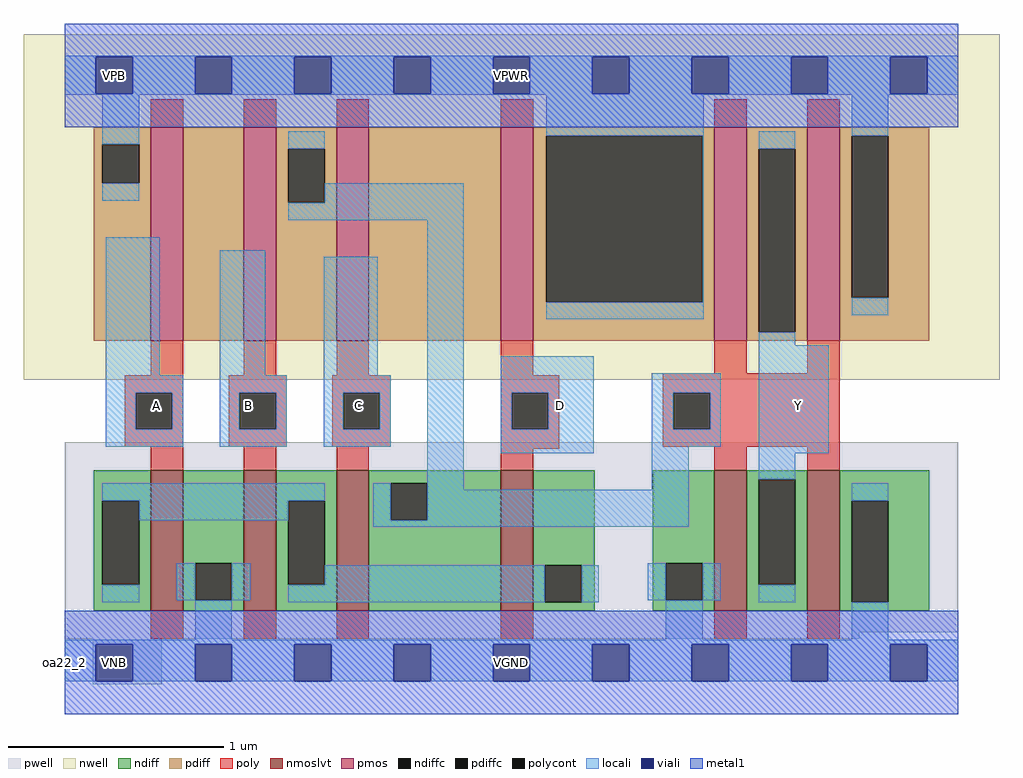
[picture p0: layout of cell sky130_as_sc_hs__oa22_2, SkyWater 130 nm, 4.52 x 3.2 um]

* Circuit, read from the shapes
.subckt sky130_as_sc_hs__oa22_2 VNB VPB VPWR VGND A B C D Y
XM1 VGND A n1 VNB sky130_fd_pr__nfet_01v8_lvt w=0.65 l=0.15
XM2 n1 B VGND VNB sky130_fd_pr__nfet_01v8_lvt w=0.65 l=0.15
XM3 n2 C n1 VNB sky130_fd_pr__nfet_01v8_lvt w=0.65 l=0.15
XM4 n1 D n2 VNB sky130_fd_pr__nfet_01v8_lvt w=0.65 l=0.15
XM5 Y n2 VGND VNB sky130_fd_pr__nfet_01v8_lvt w=0.65 l=0.15 m=2
XM6 n3 A VPWR VPB sky130_fd_pr__pfet_01v8 w=0.99 l=0.15
XM7 n2 B n3 VPB sky130_fd_pr__pfet_01v8 w=0.99 l=0.15
XM8 n4 C n2 VPB sky130_fd_pr__pfet_01v8 w=0.99 l=0.15
XM9 VPWR D n4 VPB sky130_fd_pr__pfet_01v8 w=0.99 l=0.15
XM10 Y n2 VPWR VPB sky130_fd_pr__pfet_01v8 w=0.99 l=0.15 m=2
.ends

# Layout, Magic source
magic
tech sky130A
magscale 1 2
<< nwell >>
rect -38 262 866 582
<< pwell >>
rect 0 28 828 204
rect 0 22 736 28
rect 26 -20 90 22
<< pmos >>
rect 80 298 110 496
rect 166 298 196 496
rect 252 298 282 496
rect 404 298 434 496
rect 602 298 632 496
rect 688 298 718 496
<< nmoslvt >>
rect 80 48 110 178
rect 166 48 196 178
rect 252 48 282 178
rect 404 48 434 178
rect 602 48 632 178
rect 688 48 718 178
<< ndiff >>
rect 27 150 80 178
rect 27 72 35 150
rect 69 72 80 150
rect 27 48 80 72
rect 110 92 166 178
rect 110 58 121 92
rect 155 58 166 92
rect 110 48 166 58
rect 196 150 252 178
rect 196 72 207 150
rect 241 72 252 150
rect 196 48 252 72
rect 282 166 404 178
rect 282 132 302 166
rect 336 132 404 166
rect 282 48 404 132
rect 434 90 491 178
rect 434 56 445 90
rect 479 56 491 90
rect 434 48 491 56
rect 545 92 602 178
rect 545 58 557 92
rect 591 58 602 92
rect 545 48 602 58
rect 632 170 688 178
rect 632 72 643 170
rect 677 72 688 170
rect 632 48 688 72
rect 718 150 801 178
rect 718 56 729 150
rect 763 56 801 150
rect 718 48 801 56
<< pdiff >>
rect 27 480 80 496
rect 27 444 35 480
rect 69 444 80 480
rect 27 298 80 444
rect 110 298 166 496
rect 196 476 252 496
rect 196 426 207 476
rect 241 426 252 476
rect 196 298 252 426
rect 282 298 404 496
rect 434 488 602 496
rect 434 334 446 488
rect 591 334 602 488
rect 434 298 602 334
rect 632 476 688 496
rect 632 306 643 476
rect 677 306 688 476
rect 632 298 688 306
rect 718 488 801 496
rect 718 338 729 488
rect 763 338 801 488
rect 718 298 801 338
<< ndiffc >>
rect 35 72 69 150
rect 121 58 155 92
rect 207 72 241 150
rect 302 132 336 166
rect 445 56 479 90
rect 557 58 591 92
rect 643 72 677 170
rect 729 56 763 150
<< pdiffc >>
rect 35 444 69 480
rect 207 426 241 476
rect 446 334 591 488
rect 643 306 677 476
rect 729 338 763 488
<< poly >>
rect 80 496 110 522
rect 166 496 196 522
rect 252 496 282 522
rect 404 496 434 522
rect 602 496 632 522
rect 688 496 718 522
rect 80 266 110 298
rect 166 266 196 298
rect 252 266 282 298
rect 404 266 434 298
rect 602 268 632 298
rect 688 268 718 298
rect 56 250 110 266
rect 56 216 66 250
rect 100 216 110 250
rect 56 200 110 216
rect 152 250 206 266
rect 152 216 162 250
rect 196 216 206 250
rect 152 200 206 216
rect 248 250 302 266
rect 248 216 258 250
rect 292 216 302 250
rect 248 200 302 216
rect 404 250 458 266
rect 404 216 414 250
rect 448 216 458 250
rect 80 178 110 200
rect 166 178 196 200
rect 252 178 282 200
rect 404 198 458 216
rect 554 250 718 268
rect 554 216 564 250
rect 598 216 718 250
rect 554 200 718 216
rect 404 178 434 198
rect 602 178 632 200
rect 688 178 718 200
rect 80 22 110 48
rect 166 22 196 48
rect 252 22 282 48
rect 404 22 434 48
rect 602 22 632 48
rect 688 22 718 48
<< polycont >>
rect 66 216 100 250
rect 162 216 196 250
rect 258 216 292 250
rect 414 216 448 250
rect 564 216 598 250
<< locali >>
rect 0 561 828 562
rect 0 527 29 561
rect 63 527 121 561
rect 155 527 213 561
rect 247 527 305 561
rect 339 527 397 561
rect 431 527 489 561
rect 523 527 581 561
rect 615 527 673 561
rect 707 527 765 561
rect 799 527 828 561
rect 0 526 828 527
rect 35 480 69 526
rect 35 428 69 444
rect 207 476 241 492
rect 446 488 592 526
rect 241 426 370 444
rect 207 410 370 426
rect 38 266 88 394
rect 144 266 186 382
rect 240 266 290 376
rect 38 250 110 266
rect 38 216 66 250
rect 100 216 110 250
rect 38 200 110 216
rect 144 250 206 266
rect 144 216 162 250
rect 196 216 206 250
rect 144 200 206 216
rect 240 250 302 266
rect 240 216 258 250
rect 292 216 302 250
rect 240 200 302 216
rect 35 150 241 166
rect 69 132 207 150
rect 35 56 69 72
rect 104 58 121 92
rect 155 58 172 92
rect 286 132 302 166
rect 336 160 370 410
rect 591 334 592 488
rect 446 318 592 334
rect 643 476 677 492
rect 729 488 763 526
rect 729 322 763 338
rect 643 294 677 306
rect 404 250 490 284
rect 404 216 414 250
rect 448 216 490 250
rect 404 194 490 216
rect 544 250 608 268
rect 544 216 564 250
rect 598 216 608 250
rect 544 200 608 216
rect 544 160 578 200
rect 336 132 578 160
rect 286 126 578 132
rect 643 194 708 294
rect 643 170 677 194
rect 241 72 445 90
rect 121 21 155 58
rect 207 56 445 72
rect 479 56 495 90
rect 540 58 557 92
rect 591 58 608 92
rect 557 21 591 58
rect 643 56 677 72
rect 729 150 763 166
rect 729 21 763 56
rect 0 17 828 21
rect 0 -17 29 17
rect 63 -17 121 17
rect 155 -17 213 17
rect 247 -17 305 17
rect 339 -17 397 17
rect 431 -17 489 17
rect 523 -17 581 17
rect 615 -17 673 17
rect 707 -17 765 17
rect 799 -17 828 17
<< viali >>
rect 29 527 63 561
rect 121 527 155 561
rect 213 527 247 561
rect 305 527 339 561
rect 397 527 431 561
rect 489 527 523 561
rect 581 527 615 561
rect 673 527 707 561
rect 765 527 799 561
rect 29 -17 63 17
rect 121 -17 155 17
rect 213 -17 247 17
rect 305 -17 339 17
rect 397 -17 431 17
rect 489 -17 523 17
rect 581 -17 615 17
rect 673 -17 707 17
rect 765 -17 799 17
<< metal1 >>
rect 0 561 828 592
rect 0 527 29 561
rect 63 527 121 561
rect 155 527 213 561
rect 247 527 305 561
rect 339 527 397 561
rect 431 527 489 561
rect 523 527 581 561
rect 615 527 673 561
rect 707 527 765 561
rect 799 527 828 561
rect 0 496 828 527
rect 0 17 828 48
rect 0 -17 29 17
rect 63 -17 121 17
rect 155 -17 213 17
rect 247 -17 305 17
rect 339 -17 397 17
rect 431 -17 489 17
rect 523 -17 581 17
rect 615 -17 673 17
rect 707 -17 765 17
rect 799 -17 828 17
rect 0 -48 828 -17
<< labels >>
rlabel comment s 0 0 0 0 4 oa22_2
flabel pwell s 29 -17 63 17 0 FreeSans 200 0 0 0 VNB
port 1 nsew ground bidirectional
flabel pwell s 46 0 46 0 0 FreeSans 200 0 0 0 VNB
flabel nwell s 29 527 63 561 0 FreeSans 200 0 0 0 VPB
port 2 nsew power bidirectional
flabel nwell s 46 544 46 544 0 FreeSans 200 0 0 0 VPB
flabel metal1 s 29 527 63 561 0 FreeSans 200 0 0 0 VPWR
port 3 nsew power bidirectional abutment
flabel metal1 s 29 -17 63 17 0 FreeSans 200 0 0 0 VGND
port 4 nsew ground bidirectional abutment
rlabel metal1 s 0 -48 828 48 1 VGND
port 4 nsew ground bidirectional abutment
rlabel metal1 s 0 496 828 592 1 VPWR
port 3 nsew power bidirectional abutment
flabel locali s 68 221 102 255 0 FreeSans 200 0 0 0 A
port 5 nsew signal input
flabel locali s 85 238 85 238 0 FreeSans 200 0 0 0 A
flabel locali s 153 221 187 255 0 FreeSans 200 0 0 0 B
port 6 nsew signal input
flabel locali s 170 238 170 238 0 FreeSans 200 0 0 0 B
flabel locali s 255 221 289 255 0 FreeSans 200 0 0 0 C
port 7 nsew signal input
flabel locali s 272 238 272 238 0 FreeSans 200 0 0 0 C
flabel locali s 442 221 476 255 0 FreeSans 200 0 0 0 D
port 8 nsew signal input
flabel locali s 459 238 459 238 0 FreeSans 200 0 0 0 D
flabel locali s 663 221 697 255 0 FreeSans 200 0 0 0 Y
port 9 nsew signal output
flabel locali s 680 238 680 238 0 FreeSans 200 0 0 0 Y
<< properties >>
string FIXED_BBOX 0 0 828 544
string GDS_FILE $PDKPATH/libs.ref/sky130_as_sc_hs/gds/sky130_as_sc_hs__oa22_2.gds
string LEFclass CORE
string LEFsite unithd
string LEFsymmetry X Y R90
string MASKHINTS_LVTN 0 -4 828 220
string MASKHINTS_NSDM 0 -38 828 209
string MASKHINTS_PSDM 0 273 828 582
<< end >>
